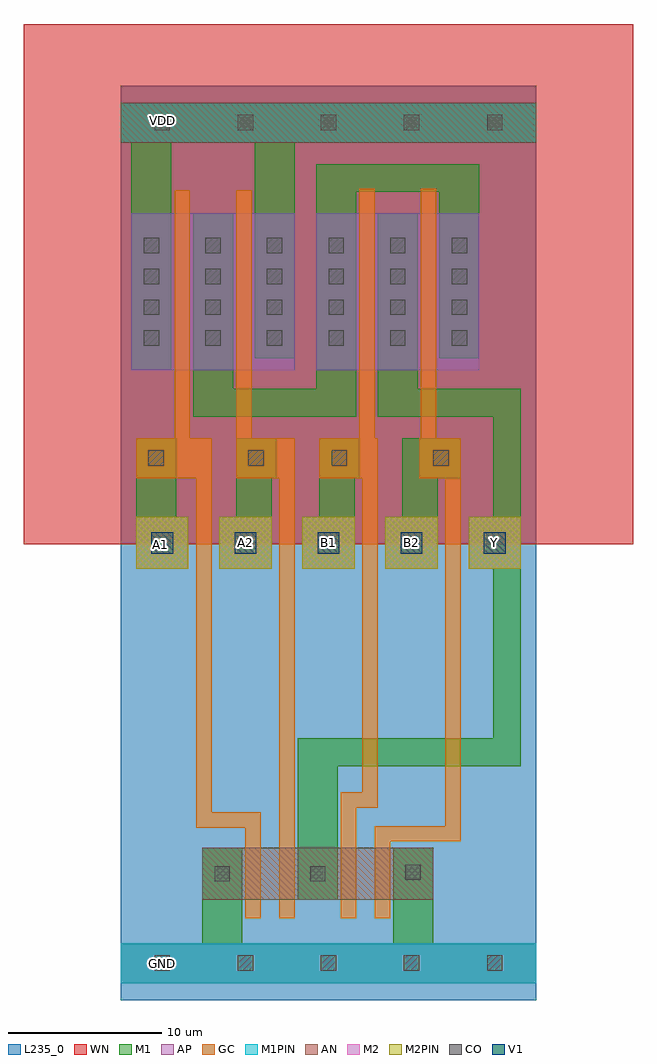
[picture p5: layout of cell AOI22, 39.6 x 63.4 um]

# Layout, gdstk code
import gdstk
lib = gdstk.Library(unit=1e-6, precision=1e-09)
def R(c, l, rs):  # rectangles x0, y0, x1, y1
    for r in rs: c.add(gdstk.rectangle(r[:2], r[2:], *l))
def A(c, l, x, y, w, h, nx, ny, dx, dy):  # array of equal rectangles
    R(c, l, [(x+i*dx, y+j*dy, x+i*dx+w, y+j*dy+h) for i in range(nx) for j in range(ny)])
def P(c, l, *ps):  # polygons
    for p in ps: c.add(gdstk.Polygon(p, *l))
AP = (3, 1)
AN = (3, 2)
GC = (8, 1)
CO = (11, 0)
M1 = (13, 0)
V1 = (19, 0)
M2 = (20, 0)
M1PIN = (48, 1)
M2PIN = (49, 1)
WN = (140, 0)
L235_0 = (235, 0)

aoi22 = lib.new_cell('AOI22')
R(aoi22, AP, [(0,1.1,27,3.7), (0.7,40.9,7.3,51.1), (4.7,40.9,11.3,51.1), (12.7,40.9,23.3,51.1)])
R(aoi22, AN, [(5.3,6.5,20.3,9.9), (0,55.7,27,58.3)])
P(aoi22, GC, [(8.1,5.3),(8.1,11.2),(4.9,11.2),(4.9,33.9),(1,33.9),(1,36.5),(3.5,36.5),(3.5,52.6),(4.5,52.6),(4.5,36.5),(5.9,36.5),(5.9,12.2),(9.1,12.2),(9.1,5.3)],
  [(10.3,5.3),(10.3,33.9),(7.5,33.9),(7.5,52.6),(8.5,52.6),(8.5,36.5),(11.3,36.5),(11.3,5.3)],
  [(14.3,5.3),(14.3,13.5),(15.7,13.5),(15.7,33.9),(12.9,33.9),(12.9,36.5),(15.5,36.5),(15.5,52.7),(16.5,52.7),(16.5,36.5),(16.7,36.5),(16.7,12.5),(15.3,12.5),(15.3,5.3)],
  [(16.5,5.3),(16.5,11.3),(21.1,11.3),(21.1,33.9),(19.4,33.9),(19.4,36.5),(19.5,36.5),(19.5,52.7),(20.5,52.7),(20.5,36.5),(22.1,36.5),(22.1,10.3),(17.5,10.3),(17.5,5.3)])
A(aoi22, CO, 1.5, 42.5, 1, 1, 6, 4, 4, 2)
R(aoi22, CO, [(2.2,1.9,3.2,2.9), (7.6,1.9,8.6,2.9), (7.6,1.9,8.6,2.9), (13,1.9,14,2.9), (13,1.9,14,2.9), (18.4,1.9,19.4,2.9), (18.4,1.9,19.4,2.9), (23.8,1.9,24.8,2.9), (6.1,7.7,7.1,8.7), (12.3,7.7,13.3,8.7), (18.5,7.8,19.5,8.8), (1.8,34.7,2.8,35.7), (8.3,34.7,9.3,35.7), (13.7,34.7,14.7,35.7), (20.3,34.7,21.3,35.7), (2.2,56.5,3.2,57.5), (2.2,56.5,3.2,57.5), (7.6,56.5,8.6,57.5), (7.6,56.5,8.6,57.5), (7.6,56.5,8.6,57.5), (7.6,56.5,8.6,57.5), (13,56.5,14,57.5), (13,56.5,14,57.5), (18.4,56.5,19.4,57.5), (18.4,56.5,19.4,57.5), (23.8,56.5,24.8,57.5)])
R(aoi22, M1, [(0,1.1,27,3.7), (5.3,3.7,7.9,9.9), (17.7,3.7,20.3,9.9), (16.7,37.9,19.3,51.1), (0.7,40.9,3.3,55.7), (8.7,41.7,11.3,55.7), (0,55.7,27,58.3)])
P(aoi22, M1, [(11.5,6.5),(11.5,17),(24.2,17),(24.2,28),(22.6,28),(22.6,31.4),(24.2,31.4),(24.2,37.9),(19.3,37.9),(19.3,39.7),(26,39.7),(26,15.2),(14.1,15.2),(14.1,6.5)],
  [(1,28),(1,36.5),(3.6,36.5),(3.6,31.4),(4.4,31.4),(4.4,28)],
  [(6.4,28),(6.4,31.4),(7.5,31.4),(7.5,36.5),(10.1,36.5),(10.1,33.9),(9.8,33.9),(9.8,28)],
  [(11.8,28),(11.8,31.4),(12.9,31.4),(12.9,36.5),(15.5,36.5),(15.5,33.9),(15.2,33.9),(15.2,28)],
  [(17.2,28),(17.2,31.4),(18.3,31.4),(18.3,36.5),(22.1,36.5),(22.1,33.9),(20.6,33.9),(20.6,28)],
  [(4.7,37.9),(4.7,51.1),(7.3,51.1),(7.3,39.7),(12.7,39.7),(12.7,54.3),(23.3,54.3),(23.3,41.7),(20.7,41.7),(20.7,52.5),(15.3,52.5),(15.3,37.9)])
A(aoi22, V1, 2, 29, 1.4, 1.4, 5, 1, 5.4, 0)
A(aoi22, M2, 1, 28, 3.4, 3.4, 5, 1, 5.4, 0)
R(aoi22, M1PIN, [(0,1.1,27,3.7), (0,55.7,27,58.3)])
A(aoi22, M2PIN, 1, 28, 3.4, 3.4, 5, 1, 5.4, 0)
R(aoi22, WN, [(-6.3,29.6,33.3,63.4)])
R(aoi22, L235_0, [(0,0,27,59.4)])
aoi22.add(gdstk.Label('A1', (2.6,29.6), layer=49, texttype=0))
aoi22.add(gdstk.Label('A2', (8.1,29.7), layer=49, texttype=0))
aoi22.add(gdstk.Label('B1', (13.5,29.7), layer=49, texttype=0))
aoi22.add(gdstk.Label('B2', (18.9,29.7), layer=49, texttype=0))
aoi22.add(gdstk.Label('Y', (24.3,29.7), layer=49, texttype=0))
aoi22.add(gdstk.Label('GND', (2.7,2.4), layer=48, texttype=0))
aoi22.add(gdstk.Label('VDD', (2.7,57.1), layer=48, texttype=0))

lib.write_gds('AOI22.gds')
